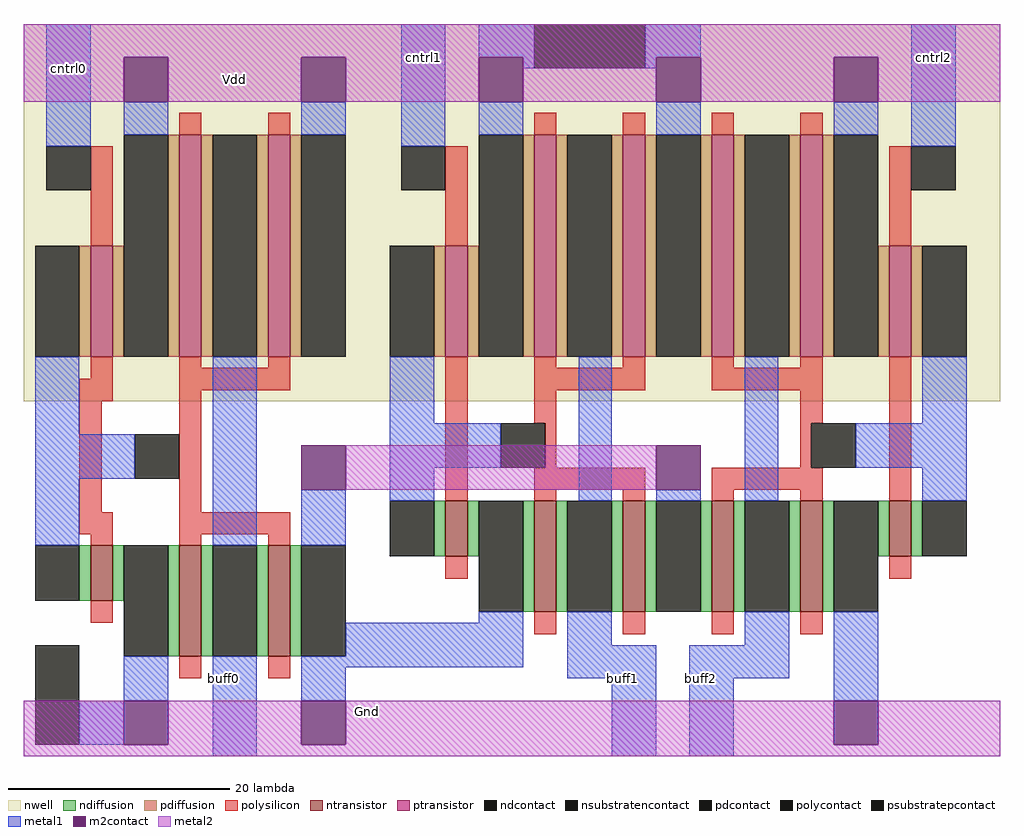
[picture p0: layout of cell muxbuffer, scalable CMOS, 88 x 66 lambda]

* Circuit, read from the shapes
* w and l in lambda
.subckt muxbuffer Gnd Vdd buff0 buff1 buff2 cntrl0 cntrl1 cntrl2
M1 Gnd cntrl0 n1 Gnd nfet w=5 l=2
M2 buff0 n1 Gnd Gnd nfet w=10 l=2 m=2
M3 Gnd cntrl1 n2 Gnd nfet w=5 l=2
M4 buff1 n2 Gnd Gnd nfet w=10 l=2 m=2
M5 buff2 n3 Gnd Gnd nfet w=10 l=2 m=2
M6 n3 cntrl2 Gnd Gnd nfet w=5 l=2
M7 Vdd cntrl0 n1 Vdd pfet w=10 l=2
M8 buff0 n1 Vdd Vdd pfet w=20 l=2 m=2
M9 Vdd cntrl1 n2 Vdd pfet w=10 l=2
M10 buff1 n2 Vdd Vdd pfet w=20 l=2 m=2
M11 buff2 n3 Vdd Vdd pfet w=20 l=2 m=2
M12 n3 cntrl2 Vdd Vdd pfet w=10 l=2
.ends

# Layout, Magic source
magic
tech scmos
<< nwell >>
rect 615 1022 703 1056
<< polysilicon >>
rect 629 1046 631 1048
rect 637 1046 639 1048
rect 661 1046 663 1048
rect 669 1046 671 1048
rect 677 1046 679 1048
rect 685 1046 687 1048
rect 621 1036 623 1045
rect 653 1036 655 1045
rect 693 1036 695 1045
rect 621 1024 623 1026
rect 620 1022 623 1024
rect 629 1025 631 1026
rect 637 1025 639 1026
rect 629 1023 639 1025
rect 620 1012 622 1022
rect 629 1012 631 1023
rect 653 1013 655 1026
rect 661 1025 663 1026
rect 669 1025 671 1026
rect 661 1023 671 1025
rect 677 1025 679 1026
rect 685 1025 687 1026
rect 677 1023 687 1025
rect 661 1020 663 1023
rect 662 1016 663 1020
rect 685 1020 687 1023
rect 685 1016 686 1020
rect 661 1014 671 1016
rect 661 1013 663 1014
rect 669 1013 671 1014
rect 677 1014 687 1016
rect 677 1013 679 1014
rect 685 1013 687 1014
rect 693 1013 695 1026
rect 620 1010 623 1012
rect 621 1009 623 1010
rect 629 1010 639 1012
rect 629 1009 631 1010
rect 637 1009 639 1010
rect 621 1002 623 1004
rect 653 1006 655 1008
rect 693 1006 695 1008
rect 661 1001 663 1003
rect 669 1001 671 1003
rect 677 1001 679 1003
rect 685 1001 687 1003
rect 629 997 631 999
rect 637 997 639 999
<< ndiffusion >>
rect 620 1004 621 1009
rect 623 1004 624 1009
rect 628 999 629 1009
rect 631 999 632 1009
rect 636 999 637 1009
rect 639 999 640 1009
rect 652 1008 653 1013
rect 655 1008 656 1013
rect 660 1003 661 1013
rect 663 1003 664 1013
rect 668 1003 669 1013
rect 671 1003 672 1013
rect 676 1003 677 1013
rect 679 1003 680 1013
rect 684 1003 685 1013
rect 687 1003 688 1013
rect 692 1008 693 1013
rect 695 1008 696 1013
<< pdiffusion >>
rect 620 1026 621 1036
rect 623 1026 624 1036
rect 628 1026 629 1046
rect 631 1026 632 1046
rect 636 1026 637 1046
rect 639 1026 640 1046
rect 652 1026 653 1036
rect 655 1026 656 1036
rect 660 1026 661 1046
rect 663 1026 664 1046
rect 668 1026 669 1046
rect 671 1026 672 1046
rect 676 1026 677 1046
rect 679 1026 680 1046
rect 684 1026 685 1046
rect 687 1026 688 1046
rect 692 1026 693 1036
rect 695 1026 696 1036
<< metal1 >>
rect 617 1045 621 1056
rect 624 1046 628 1049
rect 640 1046 644 1049
rect 649 1045 653 1056
rect 656 1053 661 1056
rect 660 1052 661 1053
rect 671 1053 676 1056
rect 671 1052 672 1053
rect 656 1046 660 1049
rect 672 1046 676 1049
rect 688 1046 692 1049
rect 695 1045 699 1056
rect 616 1019 620 1026
rect 616 1015 625 1019
rect 616 1009 620 1015
rect 632 1009 636 1026
rect 648 1020 652 1026
rect 624 995 628 999
rect 620 991 624 995
rect 632 990 636 999
rect 640 1009 644 1014
rect 648 1016 658 1020
rect 648 1013 652 1016
rect 665 1013 668 1026
rect 656 1002 660 1003
rect 644 999 660 1002
rect 640 998 660 999
rect 672 1013 676 1014
rect 680 1013 683 1026
rect 696 1020 700 1026
rect 690 1016 700 1020
rect 696 1013 700 1016
rect 664 1000 668 1003
rect 680 1000 684 1003
rect 640 995 644 998
rect 664 997 672 1000
rect 668 990 672 997
rect 675 997 684 1000
rect 675 990 679 997
rect 688 995 692 1003
<< metal2 >>
rect 615 1053 703 1056
rect 615 1049 624 1053
rect 628 1049 640 1053
rect 644 1049 656 1053
rect 660 1049 672 1053
rect 676 1049 688 1053
rect 692 1049 703 1053
rect 644 1014 672 1018
rect 615 991 624 995
rect 628 991 640 995
rect 644 991 688 995
rect 692 991 703 995
rect 615 990 703 991
<< ntransistor >>
rect 621 1004 623 1009
rect 629 999 631 1009
rect 637 999 639 1009
rect 653 1008 655 1013
rect 661 1003 663 1013
rect 669 1003 671 1013
rect 677 1003 679 1013
rect 685 1003 687 1013
rect 693 1008 695 1013
<< ptransistor >>
rect 621 1026 623 1036
rect 629 1026 631 1046
rect 637 1026 639 1046
rect 653 1026 655 1036
rect 661 1026 663 1046
rect 669 1026 671 1046
rect 677 1026 679 1046
rect 685 1026 687 1046
rect 693 1026 695 1036
<< polycontact >>
rect 617 1041 621 1045
rect 649 1041 653 1045
rect 695 1041 699 1045
rect 625 1015 629 1019
rect 658 1016 662 1020
rect 686 1016 690 1020
<< ndcontact >>
rect 616 1004 620 1009
rect 624 999 628 1009
rect 632 999 636 1009
rect 640 999 644 1009
rect 648 1008 652 1013
rect 656 1003 660 1013
rect 664 1003 668 1013
rect 672 1003 676 1013
rect 680 1003 684 1013
rect 688 1003 692 1013
rect 696 1008 700 1013
<< pdcontact >>
rect 616 1026 620 1036
rect 624 1026 628 1046
rect 632 1026 636 1046
rect 640 1026 644 1046
rect 648 1026 652 1036
rect 656 1026 660 1046
rect 664 1026 668 1046
rect 672 1026 676 1046
rect 680 1026 684 1046
rect 688 1026 692 1046
rect 696 1026 700 1036
<< m2contact >>
rect 624 1049 628 1053
rect 640 1049 644 1053
rect 656 1049 660 1053
rect 672 1049 676 1053
rect 688 1049 692 1053
rect 624 991 628 995
rect 640 1014 644 1018
rect 672 1014 676 1018
rect 640 991 644 995
rect 688 991 692 995
<< psubstratepcontact >>
rect 616 991 620 1000
<< nsubstratencontact >>
rect 661 1052 671 1056
<< labels >>
rlabel metal2 634 1051 634 1051 1 Vdd
rlabel metal1 619 1052 619 1052 1 cntrl0
rlabel metal2 646 994 646 994 2 Gnd
rlabel metal1 651 1053 651 1053 1 cntrl1
rlabel metal1 697 1053 697 1053 1 cntrl2
rlabel metal1 669 997 669 997 2 buff1
rlabel metal1 676 997 676 997 2 buff2
rlabel metal1 633 997 633 997 3 buff0
<< end >>
